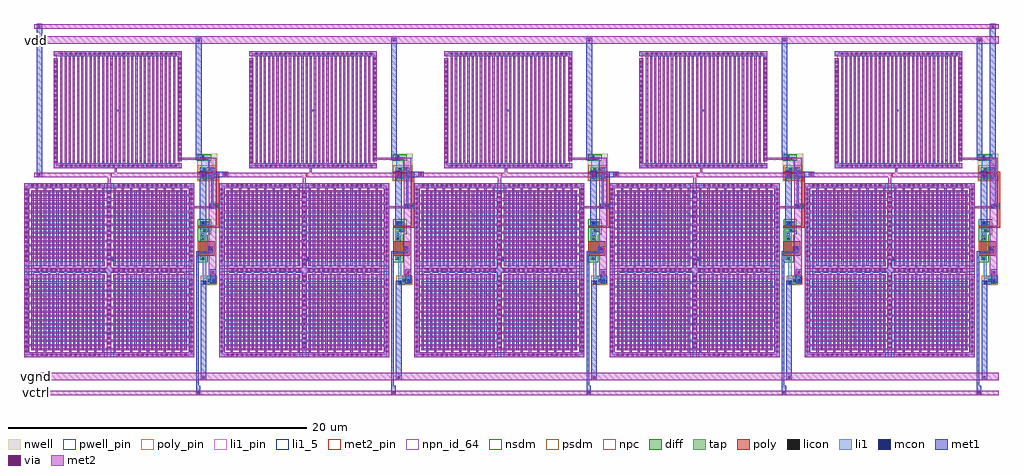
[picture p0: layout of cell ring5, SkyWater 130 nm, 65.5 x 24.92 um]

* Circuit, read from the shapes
.subckt ring5 osc vctrl vdd vgnd
XM1 cs_stage_4/ns vctrl vgnd vgnd sky130_fd_pr__nfet_01v8 w=0.42 l=1
XM2 osc cs_stage_4/in cs_stage_4/ns vgnd sky130_fd_pr__nfet_01v8 w=0.65 l=0.15
XM3 cs_stage_3/ns vctrl vgnd vgnd sky130_fd_pr__nfet_01v8 w=0.42 l=1
XM4 cs_stage_4/in cs_stage_3/in cs_stage_3/ns vgnd sky130_fd_pr__nfet_01v8 w=0.65 l=0.15
XM5 cs_stage_2/ns vctrl vgnd vgnd sky130_fd_pr__nfet_01v8 w=0.42 l=1
XM6 cs_stage_3/in cs_stage_2/in cs_stage_2/ns vgnd sky130_fd_pr__nfet_01v8 w=0.65 l=0.15
XM7 cs_stage_1/ns vctrl vgnd vgnd sky130_fd_pr__nfet_01v8 w=0.42 l=1
XM8 cs_stage_2/in cs_stage_1/in cs_stage_1/ns vgnd sky130_fd_pr__nfet_01v8 w=0.65 l=0.15
XM9 cs_stage_0/ns vctrl vgnd vgnd sky130_fd_pr__nfet_01v8 w=0.42 l=1
XM10 cs_stage_1/in osc cs_stage_0/ns vgnd sky130_fd_pr__nfet_01v8 w=0.65 l=0.15
XM11 vdd cs_stage_4/in osc vdd sky130_fd_pr__pfet_01v8 w=1 l=0.15
XM12 vdd cs_stage_3/in cs_stage_4/in vdd sky130_fd_pr__pfet_01v8 w=1 l=0.15
XM13 vdd cs_stage_2/in cs_stage_3/in vdd sky130_fd_pr__pfet_01v8 w=1 l=0.15
XM14 vdd cs_stage_1/in cs_stage_2/in vdd sky130_fd_pr__pfet_01v8 w=1 l=0.15
XM15 vdd osc cs_stage_1/in vdd sky130_fd_pr__pfet_01v8 w=1 l=0.15
.ends

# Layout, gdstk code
import gdstk
lib = gdstk.Library(unit=1e-6, precision=1e-09)
def R(c, l, rs):  # rectangles x0, y0, x1, y1
    for r in rs: c.add(gdstk.rectangle(r[:2], r[2:], *l))
def A(c, l, x, y, w, h, nx, ny, dx, dy):  # array of equal rectangles
    R(c, l, [(x+i*dx, y+j*dy, x+i*dx+w, y+j*dy+h) for i in range(nx) for j in range(ny)])
def P(c, l, *ps):  # polygons
    for p in ps: c.add(gdstk.Polygon(p, *l))
nwell = (64, 20)
diff = (65, 20)
tap = (65, 44)
poly_pin = (66, 16)
poly = (66, 20)
licon = (66, 44)
li1_5 = (67, 5)
li1_pin = (67, 16)
li1 = (67, 20)
mcon = (67, 44)
met1 = (68, 20)
via = (68, 44)
met2_pin = (69, 16)
met2 = (69, 20)
npn_id_64 = (82, 64)
nsdm = (93, 44)
psdm = (94, 20)
npc = (95, 20)
pwell_pin = (122, 16)

sky130_fd_pr__cap_vpp_08 = lib.new_cell('sky130_fd_pr__cap_vpp_08p6x07p8_m1m2_noshield')
A(sky130_fd_pr__cap_vpp_08, met1, 0, 0.32, 0.14, 7.06, 14, 1, 0.56, 0)
A(sky130_fd_pr__cap_vpp_08, met1, 0.28, 0.46, 0.14, 7.06, 14, 1, 0.56, 0)
R(sky130_fd_pr__cap_vpp_08, met1, [(-0.44,0,8.14,0.32), (-0.44,0.32,-0.17,7.38), (7.87,0.46,8.14,7.52), (-0.44,7.52,8.14,7.84)])
A(sky130_fd_pr__cap_vpp_08, via, -0.38, 0.32, 0.15, 0.15, 1, 22, 0, 0.32)
A(sky130_fd_pr__cap_vpp_08, via, 7.93, 0.545, 0.15, 0.15, 1, 22, 0, 0.32)
A(sky130_fd_pr__cap_vpp_08, via, -0.005, 7.605, 0.15, 0.15, 25, 1, 0.32, 0)
R(sky130_fd_pr__cap_vpp_08, via, [(-0.005,0.085,0.145,0.235), (-0.005,0.085,0.145,0.235), (0.315,0.085,0.465,0.235), (0.315,0.085,0.465,0.235), (0.635,0.085,0.785,0.235), (0.635,0.085,0.785,0.235), (0.955,0.085,1.105,0.235), (0.955,0.085,1.105,0.235), (1.275,0.085,1.425,0.235), (1.275,0.085,1.425,0.235), (1.595,0.085,1.745,0.235), (1.595,0.085,1.745,0.235), (1.915,0.085,2.065,0.235), (1.915,0.085,2.065,0.235), (2.235,0.085,2.385,0.235), (2.235,0.085,2.385,0.235), (2.555,0.085,2.705,0.235), (2.555,0.085,2.705,0.235), (2.875,0.085,3.025,0.235), (2.875,0.085,3.025,0.235), (3.195,0.085,3.345,0.235), (3.195,0.085,3.345,0.235), (3.515,0.085,3.665,0.235), (3.515,0.085,3.665,0.235), (3.835,0.085,3.985,0.235), (3.835,0.085,3.985,0.235), (4.155,0.085,4.305,0.235), (4.155,0.085,4.305,0.235), (4.475,0.085,4.625,0.235), (4.475,0.085,4.625,0.235), (4.795,0.085,4.945,0.235), (4.795,0.085,4.945,0.235), (5.115,0.085,5.265,0.235), (5.115,0.085,5.265,0.235), (5.435,0.085,5.585,0.235), (5.435,0.085,5.585,0.235), (5.755,0.085,5.905,0.235), (5.755,0.085,5.905,0.235), (6.075,0.085,6.225,0.235), (6.075,0.085,6.225,0.235), (6.395,0.085,6.545,0.235), (6.395,0.085,6.545,0.235), (6.715,0.085,6.865,0.235), (6.715,0.085,6.865,0.235), (7.035,0.085,7.185,0.235), (7.035,0.085,7.185,0.235), (7.355,0.085,7.505,0.235), (7.355,0.085,7.505,0.235), (7.675,0.085,7.825,0.235), (7.675,0.085,7.825,0.235)])
R(sky130_fd_pr__cap_vpp_08, met2_pin, [(3.645,0.665,3.77,0.805), (3.37,6.865,3.485,7)])
A(sky130_fd_pr__cap_vpp_08, met2, 0.28, 0.32, 0.14, 7.06, 14, 1, 0.56, 0)
A(sky130_fd_pr__cap_vpp_08, met2, 0, 0.46, 0.14, 7.06, 14, 1, 0.56, 0)
R(sky130_fd_pr__cap_vpp_08, met2, [(-0.44,0,8.14,0.32), (-0.44,0.32,-0.17,7.38), (7.87,0.46,8.14,7.52), (-0.44,7.52,8.14,7.84)])
R(sky130_fd_pr__cap_vpp_08, npn_id_64, [(-0.27,0.17,7.97,7.67)])
R(sky130_fd_pr__cap_vpp_08, pwell_pin, [(3.805,3.825,3.88,3.915)])
sky130_fd_pr__cap_vpp_08.add(gdstk.Label('C0', (3.72,0.735), layer=69, texttype=5))
sky130_fd_pr__cap_vpp_08.add(gdstk.Label('C1', (3.435,6.955), layer=69, texttype=5))
sky130_fd_pr__cap_vpp_08.add(gdstk.Label('SUB', (3.843,3.87), layer=64, texttype=59))
sky130_fd_pr__cap_vpp_08.add(gdstk.Label('For future design recommend using caps in MTM-378', (3.675,0.165), layer=83, texttype=44))

sky130_fd_pr__cap_vpp_11 = lib.new_cell('sky130_fd_pr__cap_vpp_11p5x11p7_m1m2_noshield')
A(sky130_fd_pr__cap_vpp_11, met1, 0.78, 0.33, 0.14, 5.215, 9, 2, 0.56, 5.815)
A(sky130_fd_pr__cap_vpp_11, met1, 6.01, 0.33, 0.14, 5.215, 9, 2, 0.56, 5.815)
A(sky130_fd_pr__cap_vpp_11, met1, 0.5, 0.47, 0.14, 5.215, 9, 2, 0.56, 5.535)
A(sky130_fd_pr__cap_vpp_11, met1, 6.29, 0.47, 0.14, 5.215, 9, 2, 0.56, 5.535)
R(sky130_fd_pr__cap_vpp_11, met1, [(0,0,5.84,0.33), (5.57,0,11.41,0.33), (0,0.33,0.36,5.55), (11.05,0.33,11.41,5.545), (5.54,0.47,5.87,5.685), (11.05,5.545,11.41,6.145), (0,5.55,0.36,6.145), (0.5,5.685,5.84,6.005), (5.57,5.685,10.91,6.005), (5.54,6.005,5.87,11.22), (0,6.145,0.36,11.36), (11.05,6.145,11.41,11.36), (0,11.36,5.84,11.69), (5.57,11.36,11.41,11.69)])
A(sky130_fd_pr__cap_vpp_11, via, 4.015, 0.09, 0.15, 0.15, 1, 3, 0, 5.68)
A(sky130_fd_pr__cap_vpp_11, via, 7.245, 0.09, 0.15, 0.15, 1, 3, 0, 5.68)
A(sky130_fd_pr__cap_vpp_11, via, 0.09, 0.335, 0.15, 0.15, 1, 16, 0, 0.32)
A(sky130_fd_pr__cap_vpp_11, via, 11.17, 0.335, 0.15, 0.15, 1, 16, 0, 0.32)
A(sky130_fd_pr__cap_vpp_11, via, 5.63, 0.56, 0.15, 0.15, 1, 16, 0, 0.32)
A(sky130_fd_pr__cap_vpp_11, via, 0.815, 5.77, 0.15, 0.15, 11, 1, 0.32, 0)
A(sky130_fd_pr__cap_vpp_11, via, 7.245, 5.77, 0.15, 0.15, 11, 1, 0.32, 0)
A(sky130_fd_pr__cap_vpp_11, via, 5.63, 6.18, 0.15, 0.15, 1, 16, 0, 0.32)
A(sky130_fd_pr__cap_vpp_11, via, 0.09, 6.405, 0.15, 0.15, 1, 16, 0, 0.32)
A(sky130_fd_pr__cap_vpp_11, via, 11.17, 6.405, 0.15, 0.15, 1, 16, 0, 0.32)
R(sky130_fd_pr__cap_vpp_11, via, [(0.495,0.09,0.645,0.24), (0.495,0.09,0.645,0.24), (0.815,0.09,0.965,0.24), (0.815,0.09,0.965,0.24), (1.135,0.09,1.285,0.24), (1.135,0.09,1.285,0.24), (1.455,0.09,1.605,0.24), (1.455,0.09,1.605,0.24), (1.775,0.09,1.925,0.24), (1.775,0.09,1.925,0.24), (2.095,0.09,2.245,0.24), (2.095,0.09,2.245,0.24), (2.415,0.09,2.565,0.24), (2.415,0.09,2.565,0.24), (2.735,0.09,2.885,0.24), (2.735,0.09,2.885,0.24), (3.055,0.09,3.205,0.24), (3.055,0.09,3.205,0.24), (3.375,0.09,3.525,0.24), (3.375,0.09,3.525,0.24), (3.695,0.09,3.845,0.24), (3.695,0.09,3.845,0.24), (4.015,0.09,4.165,0.24), (4.335,0.09,4.485,0.24), (4.335,0.09,4.485,0.24), (4.655,0.09,4.805,0.24), (4.655,0.09,4.805,0.24), (4.975,0.09,5.125,0.24), (4.975,0.09,5.125,0.24), (6.285,0.09,6.435,0.24), (6.285,0.09,6.435,0.24), (6.605,0.09,6.755,0.24), (6.605,0.09,6.755,0.24), (6.925,0.09,7.075,0.24), (6.925,0.09,7.075,0.24), (7.245,0.09,7.395,0.24), (7.565,0.09,7.715,0.24), (7.565,0.09,7.715,0.24), (7.885,0.09,8.035,0.24), (7.885,0.09,8.035,0.24), (8.205,0.09,8.355,0.24), (8.205,0.09,8.355,0.24), (8.525,0.09,8.675,0.24), (8.525,0.09,8.675,0.24), (8.845,0.09,8.995,0.24), (8.845,0.09,8.995,0.24), (9.165,0.09,9.315,0.24), (9.165,0.09,9.315,0.24), (9.485,0.09,9.635,0.24), (9.485,0.09,9.635,0.24), (9.805,0.09,9.955,0.24), (9.805,0.09,9.955,0.24), (10.125,0.09,10.275,0.24), (10.125,0.09,10.275,0.24), (10.445,0.09,10.595,0.24), (10.445,0.09,10.595,0.24), (10.765,0.09,10.915,0.24), (10.765,0.09,10.915,0.24), (4.335,5.77,4.485,5.92), (4.335,5.77,4.485,5.92), (4.655,5.77,4.805,5.92), (4.655,5.77,4.805,5.92), (4.975,5.77,5.125,5.92), (4.975,5.77,5.125,5.92), (5.295,5.77,5.445,5.92), (5.295,5.77,5.445,5.92), (5.965,5.77,6.115,5.92), (5.965,5.77,6.115,5.92), (6.285,5.77,6.435,5.92), (6.285,5.77,6.435,5.92), (6.605,5.77,6.755,5.92), (6.605,5.77,6.755,5.92), (6.925,5.77,7.075,5.92), (6.925,5.77,7.075,5.92), (0.495,11.45,0.645,11.6), (0.495,11.45,0.645,11.6), (0.815,11.45,0.965,11.6), (0.815,11.45,0.965,11.6), (1.135,11.45,1.285,11.6), (1.135,11.45,1.285,11.6), (1.455,11.45,1.605,11.6), (1.455,11.45,1.605,11.6), (1.775,11.45,1.925,11.6), (1.775,11.45,1.925,11.6), (2.095,11.45,2.245,11.6), (2.095,11.45,2.245,11.6), (2.415,11.45,2.565,11.6), (2.415,11.45,2.565,11.6), (2.735,11.45,2.885,11.6), (2.735,11.45,2.885,11.6), (3.055,11.45,3.205,11.6), (3.055,11.45,3.205,11.6), (3.375,11.45,3.525,11.6), (3.375,11.45,3.525,11.6), (3.695,11.45,3.845,11.6), (3.695,11.45,3.845,11.6), (4.015,11.45,4.165,11.6), (4.335,11.45,4.485,11.6), (4.335,11.45,4.485,11.6), (4.655,11.45,4.805,11.6), (4.655,11.45,4.805,11.6), (4.975,11.45,5.125,11.6), (4.975,11.45,5.125,11.6), (6.285,11.45,6.435,11.6), (6.285,11.45,6.435,11.6), (6.605,11.45,6.755,11.6), (6.605,11.45,6.755,11.6), (6.925,11.45,7.075,11.6), (6.925,11.45,7.075,11.6), (7.245,11.45,7.395,11.6), (7.565,11.45,7.715,11.6), (7.565,11.45,7.715,11.6), (7.885,11.45,8.035,11.6), (7.885,11.45,8.035,11.6), (8.205,11.45,8.355,11.6), (8.205,11.45,8.355,11.6), (8.525,11.45,8.675,11.6), (8.525,11.45,8.675,11.6), (8.845,11.45,8.995,11.6), (8.845,11.45,8.995,11.6), (9.165,11.45,9.315,11.6), (9.165,11.45,9.315,11.6), (9.485,11.45,9.635,11.6), (9.485,11.45,9.635,11.6), (9.805,11.45,9.955,11.6), (9.805,11.45,9.955,11.6), (10.125,11.45,10.275,11.6), (10.125,11.45,10.275,11.6), (10.445,11.45,10.595,11.6), (10.445,11.45,10.595,11.6), (10.765,11.45,10.915,11.6), (10.765,11.45,10.915,11.6)])
R(sky130_fd_pr__cap_vpp_11, met2_pin, [(5.605,10.31,5.815,10.49), (5.095,10.81,5.245,10.92)])
P(sky130_fd_pr__cap_vpp_11, met2, [(0,6.12),(0,11.69),(5.43,11.69),(5.43,11.36),(0.33,11.36),(0.33,10.94),(5.425,10.94),(5.425,10.8),(0.33,10.8),(0.33,10.38),(5.425,10.38),(5.425,10.24),(0.33,10.24),(0.33,9.82),(5.425,9.82),(5.425,9.68),(0.33,9.68),(0.33,9.26),(5.425,9.26),(5.425,9.12),(0.33,9.12),(0.33,8.7),(5.425,8.7),(5.425,8.56),(0.33,8.56),(0.33,8.14),(5.425,8.14),(5.425,8),(0.33,8),(0.33,7.58),(5.425,7.58),(5.425,7.44),(0.33,7.44),(0.33,7.02),(5.425,7.02),(5.425,6.88),(0.33,6.88),(0.33,6.46),(5.425,6.46),(5.425,6.125),(0.33,6.125),(0.33,6.12)],
  [(0,0),(0,5.57),(0.33,5.57),(0.33,5.565),(5.425,5.565),(5.425,5.23),(0.33,5.23),(0.33,4.81),(5.425,4.81),(5.425,4.67),(0.33,4.67),(0.33,4.25),(5.425,4.25),(5.425,4.11),(0.33,4.11),(0.33,3.69),(5.425,3.69),(5.425,3.55),(0.33,3.55),(0.33,3.13),(5.425,3.13),(5.425,2.99),(0.33,2.99),(0.33,2.57),(5.425,2.57),(5.425,2.43),(0.33,2.43),(0.33,2.01),(5.425,2.01),(5.425,1.87),(0.33,1.87),(0.33,1.45),(5.425,1.45),(5.425,1.31),(0.33,1.31),(0.33,0.89),(5.425,0.89),(5.425,0.75),(0.33,0.75),(0.33,0.33),(5.43,0.33),(5.43,0)],
  [(11.08,6.12),(11.08,6.125),(5.985,6.125),(5.985,6.46),(11.08,6.46),(11.08,6.88),(5.985,6.88),(5.985,7.02),(11.08,7.02),(11.08,7.44),(5.985,7.44),(5.985,7.58),(11.08,7.58),(11.08,8),(5.985,8),(5.985,8.14),(11.08,8.14),(11.08,8.56),(5.985,8.56),(5.985,8.7),(11.08,8.7),(11.08,9.12),(5.985,9.12),(5.985,9.26),(11.08,9.26),(11.08,9.68),(5.985,9.68),(5.985,9.82),(11.08,9.82),(11.08,10.24),(5.985,10.24),(5.985,10.38),(11.08,10.38),(11.08,10.8),(5.985,10.8),(5.985,10.94),(11.08,10.94),(11.08,11.36),(5.98,11.36),(5.98,11.69),(11.41,11.69),(11.41,6.12)],
  [(5.57,0),(5.57,0.47),(0.47,0.47),(0.47,0.61),(5.565,0.61),(5.565,1.03),(0.47,1.03),(0.47,1.17),(5.565,1.17),(5.565,1.59),(0.47,1.59),(0.47,1.73),(5.565,1.73),(5.565,2.15),(0.47,2.15),(0.47,2.29),(5.565,2.29),(5.565,2.71),(0.47,2.71),(0.47,2.85),(5.565,2.85),(5.565,3.27),(0.47,3.27),(0.47,3.41),(5.565,3.41),(5.565,3.83),(0.47,3.83),(0.47,3.97),(5.565,3.97),(5.565,4.39),(0.47,4.39),(0.47,4.53),(5.565,4.53),(5.565,4.95),(0.47,4.95),(0.47,5.09),(5.565,5.09),(5.565,5.705),(0.37,5.705),(0.37,5.71),(0,5.71),(0,5.98),(0.37,5.98),(0.37,5.985),(5.565,5.985),(5.565,6.6),(0.47,6.6),(0.47,6.74),(5.565,6.74),(5.565,7.16),(0.47,7.16),(0.47,7.3),(5.565,7.3),(5.565,7.72),(0.47,7.72),(0.47,7.86),(5.565,7.86),(5.565,8.28),(0.47,8.28),(0.47,8.42),(5.565,8.42),(5.565,8.84),(0.47,8.84),(0.47,8.98),(5.565,8.98),(5.565,9.4),(0.47,9.4),(0.47,9.54),(5.565,9.54),(5.565,9.96),(0.47,9.96),(0.47,10.1),(5.565,10.1),(5.565,10.52),(0.47,10.52),(0.47,10.66),(5.565,10.66),(5.565,11.08),(0.47,11.08),(0.47,11.22),(5.57,11.22),(5.57,11.69),(5.84,11.69),(5.84,11.22),(10.94,11.22),(10.94,11.08),(5.845,11.08),(5.845,10.66),(10.94,10.66),(10.94,10.52),(5.845,10.52),(5.845,10.1),(10.94,10.1),(10.94,9.96),(5.845,9.96),(5.845,9.54),(10.94,9.54),(10.94,9.4),(5.845,9.4),(5.845,8.98),(10.94,8.98),(10.94,8.84),(5.845,8.84),(5.845,8.42),(10.94,8.42),(10.94,8.28),(5.845,8.28),(5.845,7.86),(10.94,7.86),(10.94,7.72),(5.845,7.72),(5.845,7.3),(10.94,7.3),(10.94,7.16),(5.845,7.16),(5.845,6.74),(10.94,6.74),(10.94,6.6),(5.845,6.6),(5.845,5.985),(11.04,5.985),(11.04,5.98),(11.41,5.98),(11.41,5.71),(11.04,5.71),(11.04,5.705),(5.845,5.705),(5.845,5.09),(10.94,5.09),(10.94,4.95),(5.845,4.95),(5.845,4.53),(10.94,4.53),(10.94,4.39),(5.845,4.39),(5.845,3.97),(10.94,3.97),(10.94,3.83),(5.845,3.83),(5.845,3.41),(10.94,3.41),(10.94,3.27),(5.845,3.27),(5.845,2.85),(10.94,2.85),(10.94,2.71),(5.845,2.71),(5.845,2.29),(10.94,2.29),(10.94,2.15),(5.845,2.15),(5.845,1.73),(10.94,1.73),(10.94,1.59),(5.845,1.59),(5.845,1.17),(10.94,1.17),(10.94,1.03),(5.845,1.03),(5.845,0.61),(10.94,0.61),(10.94,0.47),(5.84,0.47),(5.84,0)],
  [(5.98,0),(5.98,0.33),(11.08,0.33),(11.08,0.75),(5.985,0.75),(5.985,0.89),(11.08,0.89),(11.08,1.31),(5.985,1.31),(5.985,1.45),(11.08,1.45),(11.08,1.87),(5.985,1.87),(5.985,2.01),(11.08,2.01),(11.08,2.43),(5.985,2.43),(5.985,2.57),(11.08,2.57),(11.08,2.99),(5.985,2.99),(5.985,3.13),(11.08,3.13),(11.08,3.55),(5.985,3.55),(5.985,3.69),(11.08,3.69),(11.08,4.11),(5.985,4.11),(5.985,4.25),(11.08,4.25),(11.08,4.67),(5.985,4.67),(5.985,4.81),(11.08,4.81),(11.08,5.23),(5.985,5.23),(5.985,5.565),(11.08,5.565),(11.08,5.57),(11.41,5.57),(11.41,0)])
R(sky130_fd_pr__cap_vpp_11, npn_id_64, [(0.17,0.17,11.24,11.52)])
R(sky130_fd_pr__cap_vpp_11, pwell_pin, [(5.88,6.445,5.985,6.69)])
sky130_fd_pr__cap_vpp_11.add(gdstk.Label('C1', (5.71,10.4), layer=69, texttype=5))
sky130_fd_pr__cap_vpp_11.add(gdstk.Label('C0', (5.17,10.88), layer=69, texttype=5))
sky130_fd_pr__cap_vpp_11.add(gdstk.Label('SUB', (5.935,6.57), layer=64, texttype=59))

cs_stage = lib.new_cell('cs_stage')
R(cs_stage, nwell, [(11.62,11.82,12.98,13.65)])
R(cs_stage, diff, [(11.8,6.5,12.22,8.11), (11.8,8.38,12.45,9.14), (11.8,12,12.8,12.76)])
R(cs_stage, tap, [(12,5,12.82,5.34), (11.8,13.3,12.45,13.47)])
R(cs_stage, poly_pin, [(12.3,7,12.5,7.4), (12.95,10,13.05,10.2)])
R(cs_stage, poly, [(11.67,6.805,12.8,7.805), (11.67,8.685,13.1,8.835), (12.9,8.835,13.1,12.305), (11.67,12.305,13.1,12.455)])
R(cs_stage, licon, [(12.325,5.085,12.495,5.255), (11.925,6.58,12.095,6.75), (11.925,7.86,12.095,8.03), (12.04,8.46,12.21,8.63), (12.04,8.89,12.21,9.06), (12.045,12.08,12.215,12.25), (12.385,12.08,12.555,12.25), (12.045,12.51,12.215,12.68), (12.385,12.51,12.555,12.68), (12.04,13.3,12.21,13.47)])
R(cs_stage, li1_5, [(11.9,8.15,12.1,8.34)])
R(cs_stage, li1_pin, [(12.24,5,12.58,5.34), (12.04,13.3,12.21,13.47)])
R(cs_stage, li1, [(12,4.9,12.82,5.44), (12,5.44,12.22,6.58), (11.8,6.58,12.22,6.75), (11.8,7.86,12.22,8.46), (11.8,8.46,12.45,8.63), (11.8,8.89,12.45,9.06), (11.8,12.08,12.8,12.25), (11.8,12.51,12.8,12.68), (11.88,12.68,12.4,13.3), (11.8,13.3,12.45,13.47)])
R(cs_stage, mcon, [(12.62,5.07,12.79,5.24), (11.93,8.89,12.1,9.06), (11.93,12.08,12.1,12.25)])
R(cs_stage, met1, [(12.5,4.96,12.9,5.9), (11.8,8.8,12.24,12.48)])
R(cs_stage, via, [(12.615,5.615,12.765,5.765), (11.925,12.185,12.075,12.335)])
R(cs_stage, met2_pin, [(5.815,12.15,5.9,12.35)])
R(cs_stage, met2, [(12.4,5.5,12.9,10), (11.3,10,12.9,10.14), (12.4,10.14,12.9,13.26), (5.605,10.31,5.815,12.1), (5.605,12.1,12.17,12.4), (6.08,12.4,6.22,13.505), (10.4,13.26,12.9,13.4)])
R(cs_stage, nsdm, [(11.675,6.375,12.345,8.255), (11.675,8.255,12.575,9.265), (11.675,13.175,12.575,13.595)])
R(cs_stage, psdm, [(11.875,4.875,12.945,5.465), (11.675,11.875,12.925,12.885)])
cs_stage.add(gdstk.Reference(sky130_fd_pr__cap_vpp_08, (2.44,12.7)))
cs_stage.add(gdstk.Reference(sky130_fd_pr__cap_vpp_11, (0,0)))
cs_stage.add(gdstk.Label('vctrl', (12.4,7.2), layer=66, texttype=5))
cs_stage.add(gdstk.Label('in', (13,10.1), layer=66, texttype=5))
cs_stage.add(gdstk.Label('vgnd', (12.41,5.17), layer=67, texttype=5))
cs_stage.add(gdstk.Label('vdd', (12.125,13.385), layer=67, texttype=5))
cs_stage.add(gdstk.Label('ns', (12,8.245), layer=67, texttype=5))
cs_stage.add(gdstk.Label('out', (5.857,12.25), layer=69, texttype=5))

ring5 = lib.new_cell('ring5')
A(ring5, poly, 12.43, 7.2, 0.17, 0.17, 5, 1, 13.1, 0)
A(ring5, poly, 12.78, 9.985, 0.27, 0.33, 5, 1, 13.1, 0)
A(ring5, licon, 12.43, 7.2, 0.17, 0.17, 5, 1, 13.1, 0)
A(ring5, licon, 12.83, 10.065, 0.17, 0.17, 5, 1, 13.1, 0)
A(ring5, li1, 12.01, 4.9, 0.17, 0.17, 5, 1, 13.1, 0)
A(ring5, li1, 12.35, 7.12, 0.33, 0.33, 5, 1, 13.1, 0)
A(ring5, li1, 12.4, 9.985, 0.63, 0.33, 5, 1, 13.1, 0)
A(ring5, li1, 11.83, 13.3, 0.17, 0.17, 5, 1, 13.1, 0)
A(ring5, mcon, 12.01, 4.9, 0.17, 0.17, 5, 1, 13.1, 0)
A(ring5, mcon, 12.43, 7.2, 0.17, 0.17, 5, 1, 13.1, 0)
A(ring5, mcon, 12.48, 10.065, 0.17, 0.17, 5, 1, 13.1, 0)
A(ring5, mcon, 11.83, 13.3, 0.17, 0.17, 5, 1, 13.1, 0)
A(ring5, met1, 11.55, -2.54, 0.29, 0.64, 5, 1, 13.1, 0)
A(ring5, met1, 11.55, -1.9, 0.17, 8.89, 5, 1, 13.1, 0)
A(ring5, met1, 11.86, -1.54, 0.38, 6.67, 5, 1, 13.1, 0)
A(ring5, met1, 11.55, 6.99, 1.12, 0.14, 5, 1, 13.1, 0)
A(ring5, met1, 12.36, 7.13, 0.31, 0.31, 5, 1, 13.1, 0)
A(ring5, met1, 12.41, 9.995, 0.31, 0.31, 5, 1, 13.1, 0)
A(ring5, met1, 12.56, 10.305, 0.14, 1.775, 4, 1, 13.1, 0)
A(ring5, met1, 12.56, 12.08, 1.16, 0.36, 4, 1, 13.1, 0)
A(ring5, met1, 11.54, 13.24, 0.53, 0.29, 5, 1, 13.1, 0)
A(ring5, met1, 11.54, 13.53, 0.38, 7.93, 5, 1, 13.1, 0)
R(ring5, met1, [(64.81,10.305,65.2,22.38), (0.84,12.08,1.22,22.38)])
A(ring5, via, 11.615, -2.445, 0.15, 0.15, 5, 1, 13.1, 0)
A(ring5, via, 11.975, -1.425, 0.15, 0.15, 5, 1, 13.1, 0)
A(ring5, via, 13.455, 12.185, 0.15, 0.15, 4, 1, 13.1, 0)
A(ring5, via, 11.655, 21.195, 0.15, 0.15, 5, 1, 13.1, 0)
R(ring5, via, [(0.955,12.185,1.105,12.335), (0.955,22.115,1.105,22.265), (64.935,22.115,65.085,22.265)])
R(ring5, met2_pin, [(0.7,-2.54,1,-2.24), (0.7,-1.54,1,-1.04), (0.7,21.04,1,21.54), (0.7,22.04,1,22.34)])
A(ring5, met2, 13.35, 12.1, 5.45, 0.3, 4, 1, 13.1, 0)
R(ring5, met2, [(0.7,-2.54,65.4,-2.24), (0.7,-1.54,65.4,-1.04), (0.7,12.1,5.7,12.4), (0.7,21.04,65.4,21.54), (0.7,22.04,65.4,22.34)])
A(ring5, npc, 12.33, 7.1, 0.37, 0.37, 5, 1, 13.1, 0)
A(ring5, npc, 12.73, 9.965, 0.37, 0.37, 5, 1, 13.1, 0)
ring5.add(gdstk.Reference(cs_stage, (52.4,0)))
ring5.add(gdstk.Reference(cs_stage, (39.3,0)))
ring5.add(gdstk.Reference(cs_stage, (26.2,0)))
ring5.add(gdstk.Reference(cs_stage, (13.1,0)))
ring5.add(gdstk.Reference(cs_stage, (0,0)))
ring5.add(gdstk.Label('vgnd', (0.85,-1.29), layer=69, texttype=5))
ring5.add(gdstk.Label('vctrl', (0.85,-2.39), layer=69, texttype=5))
ring5.add(gdstk.Label('vdd', (0.85,21.29), layer=69, texttype=5))
ring5.add(gdstk.Label('osc', (0.85,22.19), layer=69, texttype=5))

lib.write_gds('ring5.gds')
